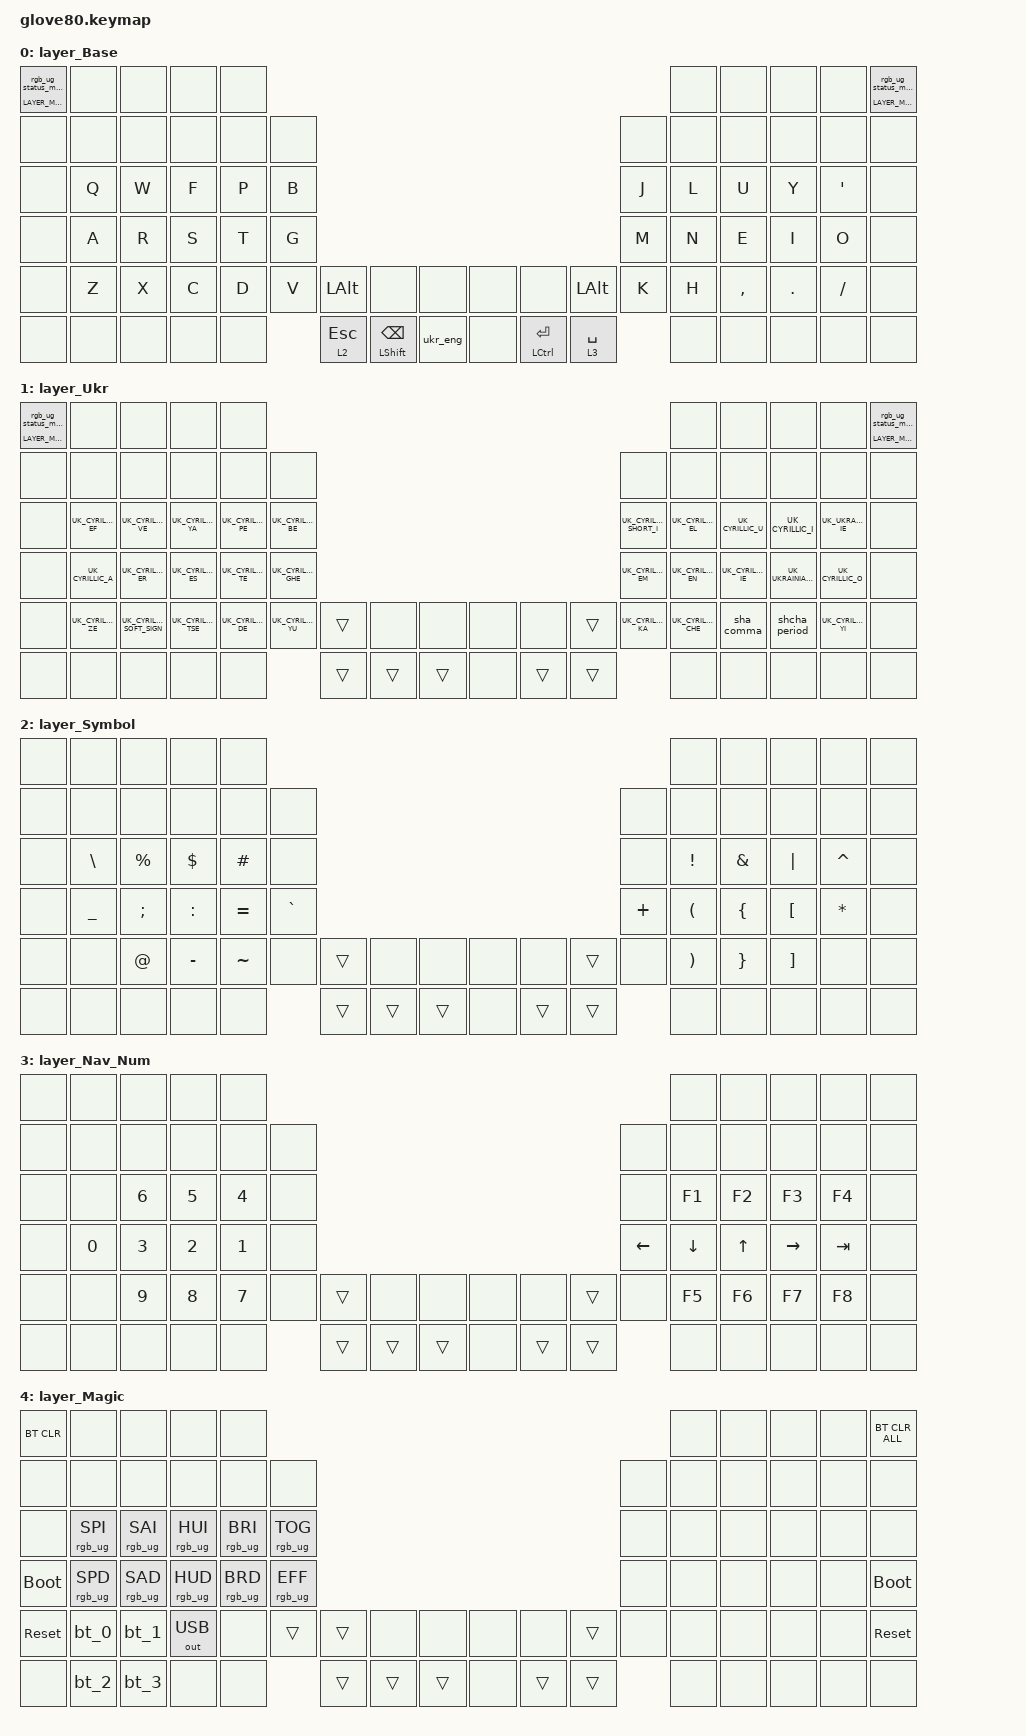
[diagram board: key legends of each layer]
#include <behaviors.dtsi>

#include <dt-bindings/zmk/outputs.h>
#include <dt-bindings/zmk/keys.h>
#include <dt-bindings/zmk/bt.h>
#include <dt-bindings/zmk/rgb.h>

// Ukrainian Cyrillic included here
#include "keys_uk_enhanced.h"

#define LAYER_Base 0
#define LAYER_Ukr 1
#define LAYER_Symbol 2
#define LAYER_Nav_Num 3
#define LAYER_Magic 4

&mt {
   tapping-term-ms = <35>;
   retro-tap;
   flavor = "tap-preferred";
};

&lt {
   tapping-term-ms = <35>;
   retro-tap;
   flavor = "tap-preferred";
   require-prior-idle-ms = <125>;
};

/ {
    macros {
        rgb_ug_status_macro: rgb_ug_status_macro {
            label = "RGB_UG_STATUS";
            compatible = "zmk,behavior-macro";
            #binding-cells = <0>;
            bindings
                = <&rgb_ug RGB_STATUS>;
        };
        ukr_eng: ukr_eng {
            label = "UKR_ENG";
            compatible = "zmk,behavior-macro";
            wait-ms = <0>;
            tap-ms = <0>;
            #binding-cells = <0>; 
            bindings = 
                <&macro_press &tog 1 &kp LALT>,
                <&macro_tap &kp RALT>,
                <&macro_pause_for_release>,
                <&macro_release &tog 1 &kp LALT>;
        };
    };
};


/ {
#ifdef BT_DISC_CMD
    behaviors {
        bt_0: bt_0 {
            compatible = "zmk,behavior-tap-dance";
            label = "BT_0";
            #binding-cells = <0>;
            tapping-term-ms = <200>;
            bindings = <&bt_select_0>, <&bt BT_DISC 0>;
        };
        bt_1: bt_1 {
            compatible = "zmk,behavior-tap-dance";
            label = "BT_1";
            #binding-cells = <0>;
            tapping-term-ms = <200>;
            bindings = <&bt_select_1>, <&bt BT_DISC 1>;
        };
        bt_2: bt_2 {
            compatible = "zmk,behavior-tap-dance";
            label = "BT_2";
            #binding-cells = <0>;
            tapping-term-ms = <200>;
            bindings = <&bt_select_2>, <&bt BT_DISC 2>;
        };
        bt_3: bt_3 {
            compatible = "zmk,behavior-tap-dance";
            label = "BT_3";
            #binding-cells = <0>;
            tapping-term-ms = <200>;
            bindings = <&bt_select_3>, <&bt BT_DISC 3>;
        };

        sha_comma: sha_comma {
            compatible = "zmk,behavior-mod-morph";
            #binding-cells = <0>;
            bindings = <&kp UK_COMMA>, <&kp UK_CYRILLIC_SHA>;
            mods = <(MOD_LSFT)>;
        };
        shcha_period: shcha_period {
            compatible = "zmk,behavior-mod-morph";
            #binding-cells = <0>;
            bindings = <&kp UK_PERIOD>, <&kp UK_CYRILLIC_SHCHA>;
            mods = <(MOD_LSFT)>;
        };
    };
    macros {
        bt_select_0: bt_select_0 {
            label = "BT_SELECT_0";
            compatible = "zmk,behavior-macro";
            #binding-cells = <0>;
            bindings
                = <&out OUT_BLE>,
                  <&bt BT_SEL 0>;
        };
        bt_select_1: bt_select_1 {
            label = "BT_SELECT_1";
            compatible = "zmk,behavior-macro";
            #binding-cells = <0>;
            bindings
                = <&out OUT_BLE>,
                  <&bt BT_SEL 1>;
        };
        bt_select_2: bt_select_2 {
            label = "BT_SELECT_2";
            compatible = "zmk,behavior-macro";
            #binding-cells = <0>;
            bindings
                = <&out OUT_BLE>,
                  <&bt BT_SEL 2>;
        };
        bt_select_3: bt_select_3 {
            label = "BT_SELECT_3";
            compatible = "zmk,behavior-macro";
            #binding-cells = <0>;
            bindings
                = <&out OUT_BLE>,
                  <&bt BT_SEL 3>;
        };
    };
#else
    macros {
        bt_0: bt_0 {
            label = "BT_0";
            compatible = "zmk,behavior-macro";
            #binding-cells = <0>;
            bindings
                = <&out OUT_BLE>,
                  <&bt BT_SEL 0>;
        };
        bt_1: bt_1 {
            label = "BT_1";
            compatible = "zmk,behavior-macro";
            #binding-cells = <0>;
            bindings
                = <&out OUT_BLE>,
                  <&bt BT_SEL 1>;
        };
        bt_2: bt_2 {
            label = "BT_2";
            compatible = "zmk,behavior-macro";
            #binding-cells = <0>;
            bindings
                = <&out OUT_BLE>,
                  <&bt BT_SEL 2>;
        };
        bt_3: bt_3 {
            label = "BT_3";
            compatible = "zmk,behavior-macro";
            #binding-cells = <0>;
            bindings
                = <&out OUT_BLE>,
                  <&bt BT_SEL 3>;
        };
    };
#endif
};

/ {
    behaviors {
        magic: magic {
            compatible = "zmk,behavior-hold-tap";
            label = "MAGIC_HOLD_TAP";
            #binding-cells = <2>;
            flavor = "tap-preferred";
            tapping-term-ms = <200>;
            bindings = <&mo>, <&rgb_ug_status_macro>;
        };
    };
};

#define POS_LH_T1 52
#define POS_LH_T2 53
#define POS_LH_T3 54
#define POS_LH_T4 69
#define POS_LH_T5 70
#define POS_LH_T6 71
#define POS_LH_C1R2 15
#define POS_LH_C1R3 27
#define POS_LH_C1R4 39
#define POS_LH_C1R5 51
#define POS_LH_C2R1 4
#define POS_LH_C2R2 14
#define POS_LH_C2R3 26
#define POS_LH_C2R4 38
#define POS_LH_C2R5 50
#define POS_LH_C2R6 68
#define POS_LH_C3R1 3
#define POS_LH_C3R2 13
#define POS_LH_C3R3 25
#define POS_LH_C3R4 37
#define POS_LH_C3R5 49
#define POS_LH_C3R6 67
#define POS_LH_C4R1 2
#define POS_LH_C4R2 12
#define POS_LH_C4R3 24
#define POS_LH_C4R4 36
#define POS_LH_C4R5 48
#define POS_LH_C4R6 66
#define POS_LH_C5R1 1
#define POS_LH_C5R2 11
#define POS_LH_C5R3 23
#define POS_LH_C5R4 35
#define POS_LH_C5R5 47
#define POS_LH_C5R6 65
#define POS_LH_C6R1 0
#define POS_LH_C6R2 10
#define POS_LH_C6R3 22
#define POS_LH_C6R4 34
#define POS_LH_C6R5 46
#define POS_LH_C6R6 64
#define POS_RH_T1 57
#define POS_RH_T2 56
#define POS_RH_T3 55
#define POS_RH_T4 74
#define POS_RH_T5 73
#define POS_RH_T6 72
#define POS_RH_C1R2 16
#define POS_RH_C1R3 28
#define POS_RH_C1R4 40
#define POS_RH_C1R5 58
#define POS_RH_C2R1 5
#define POS_RH_C2R2 17
#define POS_RH_C2R3 29
#define POS_RH_C2R4 41
#define POS_RH_C2R5 59
#define POS_RH_C2R6 75
#define POS_RH_C3R1 6
#define POS_RH_C3R2 18
#define POS_RH_C3R3 30
#define POS_RH_C3R4 42
#define POS_RH_C3R5 60
#define POS_RH_C3R6 76
#define POS_RH_C4R1 7
#define POS_RH_C4R2 19
#define POS_RH_C4R3 31
#define POS_RH_C4R4 43
#define POS_RH_C4R5 61
#define POS_RH_C4R6 77
#define POS_RH_C5R1 8
#define POS_RH_C5R2 20
#define POS_RH_C5R3 32
#define POS_RH_C5R4 44
#define POS_RH_C5R5 62
#define POS_RH_C5R6 78
#define POS_RH_C6R1 9
#define POS_RH_C6R2 21
#define POS_RH_C6R3 33
#define POS_RH_C6R4 45
#define POS_RH_C6R5 63
#define POS_RH_C6R6 79


/ {
    keymap {
        compatible = "zmk,keymap";


        layer_Base {
            bindings = <
//    ┌────────────────────────┬─────┬─────┬─────┬─────┐                                                                                   ┌─────┬─────┬─────┬─────┬────────────────────────┐
//    │ &magic laltYER_Magic 0 │     │     │     │     │                                                                                   │     │     │     │     │ &magic laltYER_Magic 0 │
//    ├────────────────────────┼─────┼─────┼─────┼─────┼─────┐                                                                       ┌─────┼─────┼─────┼─────┼─────┼────────────────────────┤
//    │                        │     │     │     │     │     │                                                                       │     │     │     │     │     │                        │
//    ├────────────────────────┼─────┼─────┼─────┼─────┼─────┤                                                                       ├─────┼─────┼─────┼─────┼─────┼────────────────────────┤
//    │                        │  Q  │  W  │  F  │  P  │  B  │                                                                       │  J  │  L  │  U  │  Y  │  '  │                        │
//    ├────────────────────────┼─────┼─────┼─────┼─────┼─────┤                                                                       ├─────┼─────┼─────┼─────┼─────┼────────────────────────┤
//    │                        │  A  │  R  │  S  │  T  │  G  │                                                                       │  M  │  N  │  E  │  I  │  O  │                        │
//    ├────────────────────────┼─────┼─────┼─────┼─────┼─────┼──────────┬──────────────┬──────────┐   ┌─────┬─────────────┬──────────┼─────┼─────┼─────┼─────┼─────┼────────────────────────┤
//    │                        │  Z  │  X  │  C  │  D  │  V  │   lalt   │              │          │   │     │             │   lalt   │  K  │  H  │  ,  │  .  │  /  │                        │
//    ├────────────────────────┼─────┼─────┼─────┼─────┼─────┼──────────┼──────────────┼──────────┤   ├─────┼─────────────┼──────────┼─────┼─────┼─────┼─────┼─────┼────────────────────────┤
//    │                        │     │     │     │     │     │ lt 2 esc │ mt lsft bspc │ &ukr_eng │   │     │ mt lctl ent │ lt 3 spc │     │     │     │     │     │                        │
//    └────────────────────────┴─────┴─────┴─────┴─────┘     └──────────┴──────────────┴──────────┘   └─────┴─────────────┴──────────┘     └─────┴─────┴─────┴─────┴────────────────────────┘
  &magic LAYER_Magic 0   &none   &none   &none   &none                                                                                                     &none   &none       &none     &none      &magic LAYER_Magic 0
  &none                  &none   &none   &none   &none   &none                                                                                     &none   &none   &none       &none     &none      &none               
  &none                  &kp Q   &kp W   &kp F   &kp P   &kp B                                                                                     &kp J   &kp L   &kp U       &kp Y     &kp SQT    &none               
  &none                  &kp A   &kp R   &kp S   &kp T   &kp G                                                                                     &kp M   &kp N   &kp E       &kp I     &kp O      &none               
  &none                  &kp Z   &kp X   &kp C   &kp D   &kp V   &kp LALT    &none            &none          &none   &none           &kp LALT      &kp K   &kp H   &kp COMMA   &kp DOT   &kp FSLH   &none               
  &none                  &none   &none   &none   &none           &lt 2 ESC   &mt LSHFT BSPC   &ukr_eng       &none   &mt LCTRL RET   &lt 3 SPACE           &none   &none       &none     &none      &none               
            >;
        };

        layer_Ukr {
            bindings = <
//    ┌────────────────────────┬────────────────┬───────────────────────┬─────────────────┬────────────────┐                                                                               ┌─────────────────┬────────────────┬──────────────────┬───────────────────┬────────────────────────┐
//    │ &magic laltYER_Magic 0 │                │                       │                 │                │                                                                               │                 │                │                  │                   │ &magic laltYER_Magic 0 │
//    ├────────────────────────┼────────────────┼───────────────────────┼─────────────────┼────────────────┼─────────────────┐                                       ┌─────────────────────┼─────────────────┼────────────────┼──────────────────┼───────────────────┼────────────────────────┤
//    │                        │                │                       │                 │                │                 │                                       │                     │                 │                │                  │                   │                        │
//    ├────────────────────────┼────────────────┼───────────────────────┼─────────────────┼────────────────┼─────────────────┤                                       ├─────────────────────┼─────────────────┼────────────────┼──────────────────┼───────────────────┼────────────────────────┤
//    │                        │ UK_CYRILLIC_EF │    UK_CYRILLIC_VE     │ UK_CYRILLIC_YA  │ UK_CYRILLIC_PE │ UK_CYRILLIC_BE  │                                       │ UK_CYRILLIC_SHORT_I │ UK_CYRILLIC_EL  │ UK_CYRILLIC_U  │  UK_CYRILLIC_I   │ UK_UKraltINIAN_IE │                        │
//    ├────────────────────────┼────────────────┼───────────────────────┼─────────────────┼────────────────┼─────────────────┤                                       ├─────────────────────┼─────────────────┼────────────────┼──────────────────┼───────────────────┼────────────────────────┤
//    │                        │ UK_CYRILLIC_A  │    UK_CYRILLIC_ER     │ UK_CYRILLIC_ES  │ UK_CYRILLIC_TE │ UK_CYRILLIC_GHE │                                       │   UK_CYRILLIC_EM    │ UK_CYRILLIC_EN  │ UK_CYRILLIC_IE │ UK_UKraltINIAN_I │   UK_CYRILLIC_O   │                        │
//    ├────────────────────────┼────────────────┼───────────────────────┼─────────────────┼────────────────┼─────────────────┼─────┬─────┬─────┐   ┌─────┬─────┬─────┼─────────────────────┼─────────────────┼────────────────┼──────────────────┼───────────────────┼────────────────────────┤
//    │                        │ UK_CYRILLIC_ZE │ UK_CYRILLIC_SOFT_SIGN │ UK_CYRILLIC_TSE │ UK_CYRILLIC_DE │ UK_CYRILLIC_YU  │     │     │     │   │     │     │     │   UK_CYRILLIC_KA    │ UK_CYRILLIC_CHE │   &sha_comma   │  &shcha_period   │  UK_CYRILLIC_YI   │                        │
//    ├────────────────────────┼────────────────┼───────────────────────┼─────────────────┼────────────────┼─────────────────┼─────┼─────┼─────┤   ├─────┼─────┼─────┼─────────────────────┼─────────────────┼────────────────┼──────────────────┼───────────────────┼────────────────────────┤
//    │                        │                │                       │                 │                │                 │     │     │     │   │     │     │     │                     │                 │                │                  │                   │                        │
//    └────────────────────────┴────────────────┴───────────────────────┴─────────────────┴────────────────┘                 └─────┴─────┴─────┘   └─────┴─────┴─────┘                     └─────────────────┴────────────────┴──────────────────┴───────────────────┴────────────────────────┘
  &magic LAYER_Magic 0   &none                &none                       &none                 &none                                                                                                                         &none                 &none                &none                &none                 &magic LAYER_Magic 0
  &none                  &none                &none                       &none                 &none                &none                                                                          &none                     &none                 &none                &none                &none                 &none               
  &none                  &kp UK_CYRILLIC_EF   &kp UK_CYRILLIC_VE          &kp UK_CYRILLIC_YA    &kp UK_CYRILLIC_PE   &kp UK_CYRILLIC_BE                                                             &kp UK_CYRILLIC_SHORT_I   &kp UK_CYRILLIC_EL    &kp UK_CYRILLIC_U    &kp UK_CYRILLIC_I    &kp UK_UKRAINIAN_IE   &none               
  &none                  &kp UK_CYRILLIC_A    &kp UK_CYRILLIC_ER          &kp UK_CYRILLIC_ES    &kp UK_CYRILLIC_TE   &kp UK_CYRILLIC_GHE                                                            &kp UK_CYRILLIC_EM        &kp UK_CYRILLIC_EN    &kp UK_CYRILLIC_IE   &kp UK_UKRAINIAN_I   &kp UK_CYRILLIC_O     &none               
  &none                  &kp UK_CYRILLIC_ZE   &kp UK_CYRILLIC_SOFT_SIGN   &kp UK_CYRILLIC_TSE   &kp UK_CYRILLIC_DE   &kp UK_CYRILLIC_YU    &trans   &none    &none        &none   &none    &trans   &kp UK_CYRILLIC_KA        &kp UK_CYRILLIC_CHE   &sha_comma           &shcha_period        &kp UK_CYRILLIC_YI    &none               
  &none                  &none                &none                       &none                 &none                                      &trans   &trans   &trans       &none   &trans   &trans                             &none                 &none                &none                &none                 &none               
            >;
        };

        layer_Symbol {
            bindings = <
//    ┌─────┬─────┬─────┬─────┬─────┐                                                   ┌─────┬─────┬─────┬─────┬─────┐
//    │     │     │     │     │     │                                                   │     │     │     │     │     │
//    ├─────┼─────┼─────┼─────┼─────┼─────┐                                       ┌─────┼─────┼─────┼─────┼─────┼─────┤
//    │     │     │     │     │     │     │                                       │     │     │     │     │     │     │
//    ├─────┼─────┼─────┼─────┼─────┼─────┤                                       ├─────┼─────┼─────┼─────┼─────┼─────┤
//    │     │  \  │  %  │  $  │  #  │     │                                       │     │  !  │  &  │  |  │  ^  │     │
//    ├─────┼─────┼─────┼─────┼─────┼─────┤                                       ├─────┼─────┼─────┼─────┼─────┼─────┤
//    │     │  _  │  ;  │  :  │  =  │  `  │                                       │  +  │  (  │  {  │  [  │  *  │     │
//    ├─────┼─────┼─────┼─────┼─────┼─────┼─────┬─────┬─────┐   ┌─────┬─────┬─────┼─────┼─────┼─────┼─────┼─────┼─────┤
//    │     │     │  @  │  -  │  ~  │     │     │     │     │   │     │     │     │     │  )  │  }  │  ]  │     │     │
//    ├─────┼─────┼─────┼─────┼─────┼─────┼─────┼─────┼─────┤   ├─────┼─────┼─────┼─────┼─────┼─────┼─────┼─────┼─────┤
//    │     │     │     │     │     │     │     │     │     │   │     │     │     │     │     │     │     │     │     │
//    └─────┴─────┴─────┴─────┴─────┘     └─────┴─────┴─────┘   └─────┴─────┴─────┘     └─────┴─────┴─────┴─────┴─────┘
  &none   &none       &none       &none       &none                                                                                       &none      &none      &none      &none       &none
  &none   &none       &none       &none       &none       &none                                                                &none      &none      &none      &none      &none       &none
  &none   &kp BSLH    &kp PRCNT   &kp DLLR    &kp HASH    &none                                                                &none      &kp EXCL   &kp AMPS   &kp PIPE   &kp CARET   &none
  &none   &kp UNDER   &kp SEMI    &kp COLON   &kp EQUAL   &kp GRAVE                                                            &kp PLUS   &kp LPAR   &kp LBRC   &kp LBKT   &kp STAR    &none
  &none   &none       &kp AT      &kp MINUS   &kp TILDE   &none       &trans   &none    &none        &none   &none    &trans   &none      &kp RPAR   &kp RBRC   &kp RBKT   &none       &none
  &none   &none       &none       &none       &none                   &trans   &trans   &trans       &none   &trans   &trans              &none      &none      &none      &none       &none
            >;
        };

        layer_Nav_Num {
            bindings = <
//    ┌─────┬─────┬─────┬─────┬─────┐                                                    ┌──────┬─────┬──────┬─────┬─────┐
//    │     │     │     │     │     │                                                    │      │     │      │     │     │
//    ├─────┼─────┼─────┼─────┼─────┼─────┐                                       ┌──────┼──────┼─────┼──────┼─────┼─────┤
//    │     │     │     │     │     │     │                                       │      │      │     │      │     │     │
//    ├─────┼─────┼─────┼─────┼─────┼─────┤                                       ├──────┼──────┼─────┼──────┼─────┼─────┤
//    │     │     │  6  │  5  │  4  │     │                                       │      │  f1  │ f2  │  f3  │ f4  │     │
//    ├─────┼─────┼─────┼─────┼─────┼─────┤                                       ├──────┼──────┼─────┼──────┼─────┼─────┤
//    │     │  0  │  3  │  2  │  1  │     │                                       │ left │ down │ up  │ rght │ tab │     │
//    ├─────┼─────┼─────┼─────┼─────┼─────┼─────┬─────┬─────┐   ┌─────┬─────┬─────┼──────┼──────┼─────┼──────┼─────┼─────┤
//    │     │     │  9  │  8  │  7  │     │     │     │     │   │     │     │     │      │  f5  │ f6  │  f7  │ f8  │     │
//    ├─────┼─────┼─────┼─────┼─────┼─────┼─────┼─────┼─────┤   ├─────┼─────┼─────┼──────┼──────┼─────┼──────┼─────┼─────┤
//    │     │     │     │     │     │     │     │     │     │   │     │     │     │      │      │     │      │     │     │
//    └─────┴─────┴─────┴─────┴─────┘     └─────┴─────┴─────┘   └─────┴─────┴─────┘      └──────┴─────┴──────┴─────┴─────┘
  &none   &none    &none    &none    &none                                                                                &none      &none    &none       &none     &none
  &none   &none    &none    &none    &none    &none                                                            &none      &none      &none    &none       &none     &none
  &none   &none    &kp N6   &kp N5   &kp N4   &none                                                            &none      &kp F1     &kp F2   &kp F3      &kp F4    &none
  &none   &kp N0   &kp N3   &kp N2   &kp N1   &none                                                            &kp LEFT   &kp DOWN   &kp UP   &kp RIGHT   &kp TAB   &none
  &none   &none    &kp N9   &kp N8   &kp N7   &none   &trans   &none    &none        &none   &none    &trans   &none      &kp F5     &kp F6   &kp F7      &kp F8    &none
  &none   &none    &none    &none    &none            &trans   &trans   &trans       &none   &trans   &trans              &none      &none    &none       &none     &none
            >;
        };

        layer_Magic {
            bindings = <
//    ┌────────────┬─────────┬─────────┬──────────┬─────────┐                                                       ┌─────┬─────┬─────┬─────┬────────────┐
//    │   bt_clr   │         │         │          │         │                                                       │     │     │     │     │ bt_clr_ALL │
//    ├────────────┼─────────┼─────────┼──────────┼─────────┼─────────┐                                       ┌─────┼─────┼─────┼─────┼─────┼────────────┤
//    │            │         │         │          │         │         │                                       │     │     │     │     │     │            │
//    ├────────────┼─────────┼─────────┼──────────┼─────────┼─────────┤                                       ├─────┼─────┼─────┼─────┼─────┼────────────┤
//    │            │ ug_ sp+ │ ug_ sa+ │ ug_ hu+  │ ug_ br+ │ ug_ tog │                                       │     │     │     │     │     │            │
//    ├────────────┼─────────┼─────────┼──────────┼─────────┼─────────┤                                       ├─────┼─────┼─────┼─────┼─────┼────────────┤
//    │    boot    │ ug_ sp- │ ug_ sa- │ ug_ hu-  │ ug_ br- │ ug_ eff │                                       │     │     │     │     │     │    boot    │
//    ├────────────┼─────────┼─────────┼──────────┼─────────┼─────────┼─────┬─────┬─────┐   ┌─────┬─────┬─────┼─────┼─────┼─────┼─────┼─────┼────────────┤
//    │ &sys_reset │  &bt_0  │  &bt_1  │ out_ usb │         │         │     │     │     │   │     │     │     │     │     │     │     │     │ &sys_reset │
//    ├────────────┼─────────┼─────────┼──────────┼─────────┼─────────┼─────┼─────┼─────┤   ├─────┼─────┼─────┼─────┼─────┼─────┼─────┼─────┼────────────┤
//    │            │  &bt_2  │  &bt_3  │          │         │         │     │     │     │   │     │     │     │     │     │     │     │     │            │
//    └────────────┴─────────┴─────────┴──────────┴─────────┘         └─────┴─────┴─────┘   └─────┴─────┴─────┘     └─────┴─────┴─────┴─────┴────────────┘
  &bt BT_CLR    &none             &none             &none             &none                                                                                                &none   &none   &none   &none   &bt BT_CLR_ALL
  &none         &none             &none             &none             &none             &none                                                                      &none   &none   &none   &none   &none   &none         
  &none         &rgb_ug RGB_SPI   &rgb_ug RGB_SAI   &rgb_ug RGB_HUI   &rgb_ug RGB_BRI   &rgb_ug RGB_TOG                                                            &none   &none   &none   &none   &none   &none         
  &bootloader   &rgb_ug RGB_SPD   &rgb_ug RGB_SAD   &rgb_ug RGB_HUD   &rgb_ug RGB_BRD   &rgb_ug RGB_EFF                                                            &none   &none   &none   &none   &none   &bootloader   
  &sys_reset    &bt_0             &bt_1             &out OUT_USB      &none             &trans            &trans   &none    &none        &none   &none    &trans   &none   &none   &none   &none   &none   &sys_reset    
  &none         &bt_2             &bt_3             &none             &none                               &trans   &trans   &trans       &none   &trans   &trans           &none   &none   &none   &none   &none         
            >;
        };

    };
};

